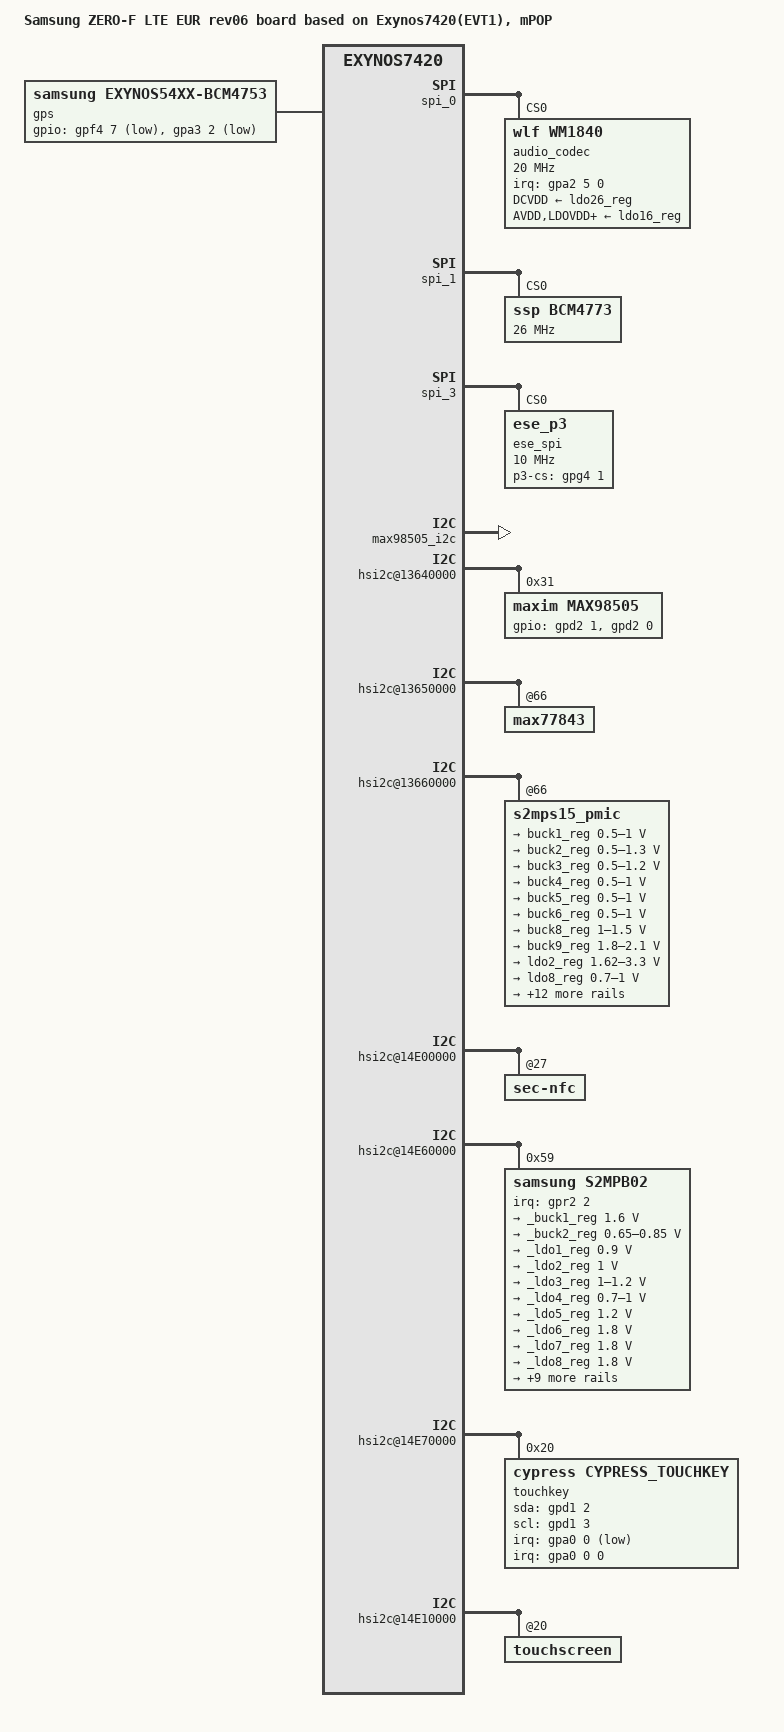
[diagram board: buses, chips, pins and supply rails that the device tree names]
/*
 * SAMSUNG UNIVERSAL7420 board device tree source
 *
 * Copyright (c) 2014 Samsung Electronics Co., Ltd.
 *		http://www.samsung.com
 *
 * This program is free software; you can redistribute it and/or modify
 * it under the terms of the GNU General Public License version 2 as
 * published by the Free Software Foundation.
*/

/dts-v1/;
#include "exynos7420-zero_common.dtsi"
#include "exynos7420-zeroflte_eur_battery_08.dtsi"
#include "exynos7420-zeroflte_gpio_06.dtsi"
#include "exynos7420-zerolte_modem-shannon_ds.dtsi"
#include "exynos7420-zerolte_fingerprint-sensor_00.dtsi"
#include "exynos7420-zeroflte_motor.dtsi"
#include "exynos7420-zeroflte_svcled.dtsi"
#include "exynos7420-zerolte_mst.dtsi"

/ {
	model = "Samsung ZERO-F LTE EUR rev06 board based on Exynos7420(EVT1), mPOP";
	model_info-chip = <7420>;
	model_info-platform = "android";
	model_info-subtype = "samsung";
	model_info-hw_rev = <10>;
	model_info-hw_rev_end = <10>;
	compatible = "samsung,ZERO-F LTE EUR EVT1 mPOP,r06", "samsung,exynos7420";

	spi_0: spi@14d20000 {
		/delete-property/ dma-mode;
		/delete-property/ dmas;
		/delete-property/ dma-names;

		num-cs = <1>;
		status = "okay";

		audio_codec: wm1840@0 {
			compatible = "wlf,wm1840";
			reg = <0x0>;
			spi-max-frequency = <20000000>;
			interrupts = <5 0 0>;
			interrupt-parent = <&gpa2>;

			gpio-controller;
			#gpio-cells = <2>;

			pinctrl-names ="default";
			pinctrl-0 = <&codec_reset &codec_irq>;

			wlf,reset = <&gpf4 0 0>;
			wlf,init-mic-delay = <30>;
			wlf,use-jd-gpio;
			wlf,micd-clamp-mode = <0x8>;
			wlf,micd-detect-debounce = <300>;
			wlf,micd-pol-gpio = <0>;
			wlf,micd-bias-start-time = <0x1>;
			wlf,micd-rate = <0x7>;
			wlf,micd-dbtime = <0x1>;
			wlf,micd-timeout = <1000>;
			wlf,micd-force-micbias;
			wlf,hpdet-moisture-imp = <2000>;
			wlf,hpdet-moisture-debounce = <40>;
			wlf,hpdet-channel = <1>;
			wlf,hpdet-ext-res = <33>;
			wlf,hpdet-short-circuit-imp = <3>;
			wlf,micd-ranges = <
				116 226
				173 582
				321 115
				752 114
				1257 217
			>;

			wlf,micd-configs = <
				0x0 2 0
			>;

			wlf,micbias1 = <1800 0 1 0 0>;
			wlf,micbias2 = <2800 0 1 0 0>;
			wlf,micbias3 = <1800 0 1 0 0>;
			wlf,micbias4 = <1800 0 1 0 0>;

			wlf,gpio-defaults = <
				0xffffffff 0xffffffff /* GPIO1 */
				0xffffffff 0xffffffff /* GPIO2 */
				0xffffffff 0xffffffff /* GPIO3 */
				0xffffffff 0xffffffff /* GPIO4 */
				0xffffffff 0xffffffff /* GPIO5 */
				0xffffffff 0xffffffff /* GPIO6 */
				0xffffffff 0xffffffff /* GPIO7 */
				0xffffffff 0xffffffff /* GPIO8 */
				0xffffffff 0xffffffff /* MIF1SCLK / GPIO9 */
				0xffffffff 0xffffffff /* MIF1SDA / GPIO10 */
				0xffffffff 0xffffffff /* MIF2SCLK / GPIO11 */
				0xffffffff 0xffffffff /* MIF2SDA / GPIO12 */
				0xffffffff 0xffffffff /* MIF3SCLK / GPIO13 */
				0xffffffff 0xffffffff /* MIF3SDA / GPIO14 */
				0x00002000 0x00006000 /* AIF1TXDAT / GPIO15 */
				0x00002000 0x00006000 /* AIF1BCLK / GPIO16 */
				0x00002000 0x00006000 /* AIF1RXDAT / GPIO17 */
				0x00002000 0x00006000 /* AIF1LRCLK / GPIO18 */
				0x00002000 0x00006000 /* AIF2TXDAT / GPIO19 */
				0x00002000 0x00006000 /* AIF2BCLK / GPIO20 */
				0x00002000 0x00006000 /* AIF2RXDAT / GPIO21 */
				0x00002000 0x00006000 /* AIF2LRCLK / GPIO22 */
				0x00002000 0x00006000 /* AIF3TXDAT / GPIO23 */
				0x00002000 0x00006000 /* AIF3BCLK / GPIO24 */
				0x00002000 0x00006000 /* AIF3RXDAT / GPIO25 */
				0x00002000 0x00006000 /* AIF3LRCLK / GPIO26 */
				0x00002000 0x00006000 /* AIF4TXDAT / GPIO27 */
				0x00002000 0x00006000 /* AIF4BCLK / GPIO28 */
				0x00002000 0x00006000 /* AIF4RXDAT / GPIO29 */
				0x00002000 0x00006000 /* AIF4LRCLK / GPIO30 */
				0x00002000 0x0000e000 /* DMICCLK4 / GPIO31 */
				0x00002000 0x0000e000 /* DMICDAT4 / GPIO32 */
				0xffffffff 0xffffffff /* DMICCLK5 / GPIO33 */
				0xffffffff 0xffffffff /* DMICDAT5 / GPIO34 */
				0xffffffff 0xffffffff /* DMICCLK6 / GPIO35 */
				0xffffffff 0xffffffff /* DMICDAT6 / GPIO36 */
				0xffffffff 0xffffffff /* SPKCLK1 / GPIO37 */
				0xffffffff 0xffffffff /* SPKCLK2 / GPIO38 */
				0xffffffff 0xffffffff /* SPKDAT1 / GPIO39 */
				0xffffffff 0xffffffff /* SPKDAT2 / GPIO40 */
			>;

			wlf,gpsw = <0x3>;
			wlf,micd-software-compare;
			wlf,micd-open-circuit-declare = <1>;
			wlf,jd-wake-time = <5000>;

			wlf,max-channels-clocked = <2 0 0 0>;
			/* 0:MICVDD 1:MICBIAS1 2:MICBIAS2 3:MICBIAS3 */
			wlf,dmic-ref = <1 2 1 0 0 0>;
			/* 1st cell:IN1L 2rd cell:IN1R 3nd cell:IN2L 4th cell:IN2R... 12th cell:IN6R */
			wlf,inmode = <2 2 0 0 2 2 2 2 0 0 0 0>;
			/* 1st cell:OUT1 2nd cell:OUT2 3rd cell:OUT3... 6th cell:OUT6 */
			wlf,out-mono = <0 1 1 0 0 0>;

			wlf,rev-specific-fw;

			DCVDD-supply = <&ldo26_reg>;
			AVDD-supply = <&ldo16_reg>;
			LDOVDD-supply = <&ldo16_reg>;
			DBVDD1-supply = <&ldo16_reg>;

			CPVDD-supply = <&ldo16_reg>;
			DBVDD2-supply = <&ldo16_reg>;
			DBVDD3-supply = <&ldo16_reg>;
			DBVDD4-supply = <&ldo16_reg>;
			SPKVDDL-supply = <&ldo16_reg>;
			SPKVDDR-supply = <&ldo16_reg>;

			adsps {
				#address-cells = <1>;
				#size-cells = <0>;

				adsp@0FFE00 {
					reg = <0x0FFE00>;
					firmware {
						TRACE {
							wlf,wmfw-file = "trace";
							wlf,bin-file = "None";
							wlf,compr-caps = <1 8 0x4 1 8000 16000 24000>;
						};
					};
				};
				adsp@17FE00 {
					reg = <0x17FE00>;
					firmware {
						TX_NB {
							wlf,wmfw-file = "tx-nb";
							wlf,bin-file = "None";
						};
						TX_WB {
							wlf,wmfw-file = "tx-wb";
							wlf,bin-file = "None";
						};
						TX_SWB_INTERVIEW {
							wlf,wmfw-file = "tx-swb";
							wlf,bin-file = "None";
						};
						TX_SWB_CONVERSATION {
							wlf,wmfw-file = "tx-swb";
							wlf,bin-file = "None";
						};
						TX_FB_MEETING {
							wlf,wmfw-file = "tx-fb-meeting";
							wlf,bin-file = "tx-fb-meeting";
						};
					};
				};
				adsp@1FFE00 {
					reg = <0x1FFE00>;
					firmware {
						TX_NB {
							wlf,wmfw-file = "tx-nb";
							wlf,bin-file = "tx-nb";
						};
						TX_WB {
							wlf,wmfw-file = "tx-wb";
							wlf,bin-file = "tx-wb";
						};
						TX_SWB_INTERVIEW {
							wlf,wmfw-file = "tx-swb";
							wlf,bin-file = "tx-swb-interview";
						};
						TX_SWB_CONVERSATION {
							wlf,wmfw-file = "tx-swb";
							wlf,bin-file = "tx-swb-conversation";
						};
						TX_WB_MEETING {
							wlf,wmfw-file = "tx-wb-meeting";
							wlf,bin-file = "tx-wb-meeting";
						};
					};
				};
				adsp@27FE00 {
					reg = <0x27FE00>;
					firmware {
						RX_NB {
							wlf,wmfw-file = "rx-anc-nb";
							wlf,bin-file = "rx-anc-nb";
						};
						RX_WB {
							wlf,wmfw-file = "rx-anc-wb";
							wlf,bin-file = "rx-anc-wb";
						};
					};
				};
				adsp@37FE00 {
					reg = <0x37FE00>;
					firmware {
						VOICECONTROL {
							wlf,wmfw-file = "ez2-control";
							wlf,bin-file = "ez2-control";
							wlf,compr-caps = <1 1 0x4 1 16000>;
						};
						LPSD {
							wlf,wmfw-file = "ez2-control";
							wlf,bin-file = "lpsd-control";
						};
					};
				};
				adsp@2FFE00 {
					reg = <0x2FFE00>;
					firmware {
						DSM {
							wlf,wmfw-file = "dsm";
							wlf,bin-file = "None";
						};
					};
				};
			};
			controller-data {
				cs-gpio = <&gpd8 1 0>;
				samsung,spi-feedback-delay = <0>;
			};
		};
	};

	spi_1: spi@14d30000 {
		#address-cells = <1>;
		#size-cells = <0>;

		pinctrl-names = "default";
		pinctrl-0 = <&spi1_mosi_sck_ssn &spi1_miso>;

		num-cs = <1>;
		status = "okay";

		BCM4773@0 {
			compatible = "ssp,BCM4773";
			reg = <0>;
			spi-max-frequency = <26000000>;
			spi-cpol;
			spi-cpha;
			pinctrl-names = "default";
			pinctrl-0 = <&ssp_host_req &ssp_mcu_req &ssp_mcu_resp>;

			gpio-controller;
			#gpio-cells = <2>;
			ssp-host-req = <&gpa3 6 0x01>;
			ssp-mcu-req = <&gpf4 5 0x01>;
			ssp-mcu-resp = <&gpf4 4 0x00>;
			ssp-acc-position = <0>;
			ssp-mag-position = <0>;
			ssp-sns-combination = <0>;
			ssp,prox-hi_thresh = <2000>;
			ssp,prox-low_thresh = <1400>;
			ssp-ap-rev = <1>;
			ssp-mag-array = <10213 (-360) 154 (-206) 8673 (-59) (-66) (-59) 10479>; /* Only for YAS532 */
			ssp-hw-rev = <3>;
			ssp-glass-type = <0>;

			controller-data {
				cs-gpio = <&gpd6 3 0>;
				samsung,spi-feedback-delay = <0>;
				};
			};
	};

	gps {
		compatible = "samsung,exynos54xx-bcm4753";

		pinctrl-names = "default";
		pinctrl-0 = <&ssp_gps_pwr_en &ssp_host_wake>;

		gpios = <&gpf4 7 0x1
			      &gpa3 2 0xf
				>;
		status = "okay";
	};

	spi_3: spi@14d50000 {
		spiclk-pindev-name = "14c90000.pinctrl";
		spiclk-pin-name = "gpg4-0";
		status = "okay";
		#address-cells = <1>;
		#size-cells = <0>;
		pinctrl-names = "default","ese-pwoff","clk-fix","clk-recover","ese-disable";
		pinctrl-0 = <&spi3_bus>;
		pinctrl-1 = <&spi3_ese_pwoff>;
		pinctrl-2 = <&spi3_clk_fix>;
		pinctrl-3 = <&spi3_clk_recover>;
		pinctrl-4 = <&spi3_ese_disable>;
		samsung,ese-oberthur;

		ese_spi@0 {
			compatible = "ese_p3";
			reg = <0>;
			spi-max-frequency = <10000000>;

			gpio-controller;
			#gpio-cells = <2>;

			p3-mosipin = <21>;
			p3-misopin = <22>;
			p3-cspin = <23>;
			p3-clkpin = <24>;
			p3-cs-gpio = <&gpg4 1 0>;
			p3-vdd-1p8= "VDD_1.8V_ESE";

			controller-data {
				samsung,spi-chip-select-mode = <1>;
			};
		};
	};

	audio_pdata {
		compatible = "samsung,audio-pdata";

		seamless_voicewakeup;
		status = "okay";
	};

	antenna_switch {
		status = "okay";
		compatible = "antenna_switch";
		pinctrl-names = "default";
		pinctrl-0 = <&antenna_switch_en>;
		antenna_switch,gpio_antenna_switch = <&gpr3 6 0>;
	};

	pinctrl@10580000 {
		codec_irq: codec-irq {
			samsung,pins = "gpa2-5";
			samsung,pin-function = <0xf>;
			samsung,pin-pud = <0>;
		};
		max98505_ctrl: max98505-ctl {
			samsung,pins ="gpa2-0";
			samsung,pin-function = <0>;
			samsung,pin-pud = <0>;
			samsung,pin-con-pdn =<2>;
			samsung,pin-pud-pdn = <0>;
		};
	};

	pinctrl@13470000 {
		max98505_i2c: max98505-i2c {
			samsung,pins = "gpd2-0", "gpd2-1";
			samsung,pin-pud = <0>;
			status = "okay";
		};
	};

	pinctrl@14870000 {
		codec_reset: codec-reset {
			samsung,pins ="gpf4-0";
			samsung,pin-function = <1>;
			samsung,pin-pud = <1>;
			samsung,pin-con-pdn =<3>;
			samsung,pin-pud-pdn = <1>;
			samsung,pin-val = <0>;
		};
	};

	pinctrl@15690000 {
		sub_pmic_irq: sub-pmic-irq {
			samsung,pins ="gpr2-2";
			samsung,pin-function = <0>;
			samsung,pin-pud = <0>;
			samsung,pin-drv = <0>;
		};		
		antenna_switch_en: antenna-switch-en {
                        samsung,pins = "gpr3-6";
                        samsung,pin-function = <1>;
                        samsung,pin-pud = <0>;
                        samsung,pin-val = <0>;
                };		
	};

	hsi2c@13640000 {
		status = "okay";
		max98505@31 {
			compatible = "maxim,max98505";
			reg = <0x31>;
			pinctrl-names = "default";
			pinctrl-0 = <&max98505_i2c &max98505_ctrl>;
			gpios = <&gpd2 1 0
				&gpd2 0 0
				>;
			i2c-gpio,delay-us = <2>;
			maxim,platform_type = <0>;
			maxim,spk_vol = <0x14>;
			maxim,sysclk = <12288000>;
		};
	};

	hsi2c@13650000{
		max77843@66 {
			status = "okay";
		};
	};

	hsi2c@13660000 {
		s2mps15_pmic@66 {
			regulators {
				buck1_reg: BUCK1 {
					regulator-name = "vdd_mif";
					regulator-min-microvolt = <500000>;
					regulator-max-microvolt = <1000000>;
					regulator-always-on;
					regulator-boot-on;
					regulator-ramp-delay = <12000>;
					regulator-initial-mode = <1>;
				};

				buck2_reg: BUCK2 {
					regulator-name = "vdd_atlas";
					regulator-min-microvolt = <500000>;
					regulator-max-microvolt = <1300000>;
					regulator-always-on;
					regulator-boot-on;
					regulator-ramp-delay = <12000>;
					regulator-initial-mode = <1>;
				};

				buck3_reg: BUCK3 {
					regulator-name = "vdd_apollo";
					regulator-min-microvolt = <500000>;
					regulator-max-microvolt = <1200000>;
					regulator-always-on;
					regulator-boot-on;
					regulator-ramp-delay = <12000>;
					regulator-initial-mode = <1>;
				};

				buck4_reg: BUCK4 {
					regulator-name = "vdd_int";
					regulator-min-microvolt = <500000>;
					regulator-max-microvolt = <1000000>;
					regulator-always-on;
					regulator-boot-on;
					regulator-ramp-delay = <12000>;
					regulator-initial-mode = <1>;
				};

				buck5_reg: BUCK5 {
					regulator-name = "vdd_disp_cam0";
					regulator-min-microvolt = <500000>;
					regulator-max-microvolt = <1000000>;
					regulator-always-on;
					regulator-boot-on;
					regulator-ramp-delay = <12000>;
					regulator-initial-mode = <1>;
				};

				buck6_reg: BUCK6 {
					regulator-name = "vdd_g3d";
					regulator-min-microvolt = <500000>;
					regulator-max-microvolt = <1000000>;
					regulator-always-on;
					regulator-boot-on;
					regulator-ramp-delay = <12000>;
					regulator-initial-mode = <1>;
				};

				buck8_reg: BUCK8 {
					regulator-name = "vdd_lldo";
					regulator-min-microvolt = <1000000>;
					regulator-max-microvolt = <1500000>;
					regulator-always-on;
					regulator-ramp-delay = <12000>;
					regulator-initial-mode = <3>;
				};

				buck9_reg: BUCK9 {
					regulator-name = "vdd_mldo";
					regulator-min-microvolt = <1800000>;
					regulator-max-microvolt = <2100000>;
					regulator-always-on;
					regulator-ramp-delay = <12000>;
					regulator-initial-mode = <3>;
				};

				ldo2_reg: LDO2 {
					regulator-name = "vqmmc";
					regulator-min-microvolt = <1620000>;
					regulator-max-microvolt = <3300000>;
					regulator-ramp-delay = <12000>;
					regulator-initial-mode = <1>;
					regulator-boot-on;
				};

				ldo8_reg: LDO8 {
					regulator-name = "vdd_ldo8";
					regulator-min-microvolt = <700000>;
					regulator-max-microvolt = <1000000>;
					regulator-always-on;
					regulator-initial-mode = <1>;
				};

				ldo15_reg: LDO15 {
					regulator-name = "tsp_io";
					regulator-min-microvolt = <1850000>;
					regulator-max-microvolt = <1850000>;
				};

				ldo16_reg: LDO16 {
					regulator-name = "VCC_1.8V_CODEC_PMIC";
					regulator-min-microvolt = <1800000>;
					regulator-max-microvolt = <1800000>;
				};

				ldo17_reg: LDO17 {
					regulator-name = "VCC_MOTOR_3.0";
					regulator-min-microvolt = <3000000>;
					regulator-max-microvolt = <3000000>;
				};

				ldo18_reg: LDO18 {
					regulator-name = "HRM_VDD_1.8V";
					regulator-min-microvolt = <1800000>;
					regulator-max-microvolt = <1850000>;
				};

				ldo19_reg: LDO19 {
					regulator-name = "MST_LEVEL_3.0V";
					regulator-min-microvolt = <3000000>;
					regulator-max-microvolt = <3000000>;
				};

				ldo20_reg: LDO20 {
					regulator-name = "VDD20_1P8_AP";
					regulator-min-microvolt = <1800000>;
					regulator-max-microvolt = <1800000>;
				};

				ldo21_reg: LDO21 {
					regulator-name = "vtouch_3.3v";
					regulator-min-microvolt = <3300000>;
					regulator-max-microvolt = <3300000>;
					regulator-boot-on;
				};

				ldo22_reg: LDO22 {
					regulator-name = "VDD22_1P2_AP";
					regulator-min-microvolt = <1200000>;
					regulator-max-microvolt = <1200000>;
				};

				ldo23_reg: LDO23 {
					regulator-name = "VDD_1.8V_ESE";
					regulator-min-microvolt = <1800000>;
					regulator-max-microvolt = <1800000>;
				};

				ldo24_reg: LDO24 {
					regulator-name = "V_HRM_3.3V";
					regulator-min-microvolt = <3300000>;
					regulator-max-microvolt = <3350000>;
				};

				ldo25_reg: LDO25 {
					regulator-name = "PROX_LED_3.3V";
					regulator-min-microvolt = <3300000>;
					regulator-max-microvolt = <3300000>;
				};

				ldo26_reg: LDO26 {
					regulator-name = "VDD_1.2V_CODEC";
					regulator-min-microvolt = <1200000>;
					regulator-max-microvolt = <1200000>;
				};
			};
		};
	};

	hsi2c@13670000 {
		max77838@60 {
			status = "disabled";
		};
	};

	hsi2c@14E00000 {
		sec-nfc@27 {
			sec-nfc,i2c_1p8 = "VDD20_1P8_AP";
		};
	};

	hsi2c@14E60000 {
		status = "okay";
		/delete-node/	s2mpb01_pmic@59;

		s2mpb02@59 {
			compatible = "samsung,s2mpb02";
			reg = <0x59>;

			s2mpb02,irq-gpio = <&gpr2 2 0>;
			pinctrl-names = "default";
			pinctrl-0 = <&sub_pmic_irq>;

			regulators {
				_buck1_reg: s2mpb02-buck1 {
					regulator-name = "VDD_1P6_DDR";
					regulator-min-microvolt = <1600000>;
					regulator-max-microvolt = <1600000>;
				};

				_buck2_reg: s2mpb02-buck2 {
					regulator-name = "VDDD_CORE_0.8V_COMP";
					regulator-min-microvolt = <650000>;
					regulator-max-microvolt = <850000>;
				};

				_ldo1_reg: s2mpb02-ldo1 {
					regulator-name = "VDDD_NORET_0.9V_COMP";
					regulator-min-microvolt = <900000>;
					regulator-max-microvolt = <900000>;
				};

				_ldo2_reg: s2mpb02-ldo2 {
					regulator-name = "VDDD_CORE_1.0V_COMP";
					regulator-min-microvolt = <1000000>;
					regulator-max-microvolt = <1000000>;
				};

				_ldo3_reg: s2mpb02-ldo3 {
					regulator-name = "VDDD_1.2V_CAM";
					regulator-min-microvolt = <1000000>;
					regulator-max-microvolt = <1200000>;
				};

				_ldo4_reg: s2mpb02-ldo4 {
					regulator-name = "VDDD_RET_1.0V_COMP";
					regulator-min-microvolt = <700000>;
					regulator-max-microvolt = <1000000>;
				};

				_ldo5_reg: s2mpb02-ldo5 {
					regulator-name = "VDDD_1.2V_VT";
					regulator-min-microvolt = <1200000>;
					regulator-max-microvolt = <1200000>;
				};

				_ldo6_reg: s2mpb02-ldo6 {
					regulator-name = "VDDIO_1.8V_VT";
					regulator-min-microvolt = <1800000>;
					regulator-max-microvolt = <1800000>;
				};

				_ldo7_reg: s2mpb02-ldo7 {
					regulator-name = "VDDIO_1.8V_CAM";
					regulator-min-microvolt = <1800000>;
					regulator-max-microvolt = <1800000>;
				};

				_ldo8_reg: s2mpb02-ldo8 {
					regulator-name = "VDDIO_1.8V_COMP";
					regulator-min-microvolt = <1800000>;
					regulator-max-microvolt = <1800000>;
				};

				_ldo9_reg: s2mpb02-ldo9 {
					regulator-name = "VDDA_1.8V_COMP";
					regulator-min-microvolt = <1800000>;
					regulator-max-microvolt = <1800000>;
				};

				_ldo10_reg: s2mpb02-ldo10 {
					regulator-name = "VCC_DISPLAY_1.8V";
					regulator-min-microvolt = <1800000>;
					regulator-max-microvolt = <1800000>;
				};

				_ldo11_reg: s2mpb02-ldo11 {
					regulator-name = "VDDA_2.9V_CAM";
					regulator-min-microvolt = <2800000>;
					regulator-max-microvolt = <2950000>;
				};

				_ldo12_reg: s2mpb02-ldo12 {
					regulator-name = "VDDAF_2.8V_CAM";
					regulator-min-microvolt = <2800000>;
					regulator-max-microvolt = <2800000>;
				};

				_ldo13_reg: s2mpb02-ldo13 {
					regulator-name = "VDDA_2.9V_VT";
					regulator-min-microvolt = <2900000>;
					regulator-max-microvolt = <2900000>;
				};

				_ldo14_reg: s2mpb02-ldo14 {
					regulator-name = "OIS_VM_2.8V";
					regulator-min-microvolt = <2800000>;
					regulator-max-microvolt = <2800000>;
				};

				_ldo15_reg: s2mpb02-ldo15 {
					regulator-name = "OIS_VDD_2.8V";
					regulator-min-microvolt = <2800000>;
					regulator-max-microvolt = <2800000>;
				};

				_ldo16_reg: s2mpb02-ldo16 {
					regulator-name = "VCC_3.0V_LCD";
					regulator-min-microvolt = <3000000>;
					regulator-max-microvolt = <3000000>;
				};

				_ldo17_reg: s2mpb02-ldo17 {
					regulator-name = "tsp_avdd";
					regulator-min-microvolt = <3300000>;
					regulator-max-microvolt = <3300000>;
				};

			};

			torch {
				status = "okay";
				leds1 {
					ledname = "leds-sec1";
					/* S2MPB02_FLASH_LED_1 */
					id = <0>;
					/* S2MPB02_FLASH_CURRENT */
					brightness = <0xF>;
					/* S2MPB02_FLASH_TIMEOUT */
					timeout = <0x3>;
				};

				leds2 {
					ledname = "torch-sec1";
					/* S2MPB02_TORCH_LED_1 */
					id = <1>;
					/* S2MPB02_TORCH_CURRENT */
					brightness = <0x9>;
					/* S2MPB02_TORCH_TIMEOUT */
					timeout = <0xF>;
				};
			};
		};
	};

	pinctrl@13470000 {
		/* touchkey i2c*/
		cfg_i2c: cfg-i2c {
			samsung,pins = "gpd1-3", "gpd1-2";
			samsung,pin-function = <3>;
			samsung,pin-pud = <0>;
			samsung,pin-drv = <0>;
		};
		cfg_gpio: cfg_gpio {
			samsung,pins = "gpd1-3", "gpd1-2";
			samsung,pin-function = <0>;
			samsung,pin-pud = <0>;
			samsung,pin-drv = <0>;
		};
	};

	pinctrl@10580000 {
		/* touchkey interrupt*/
		cfg_irq: cfg-irq {
			samsung,pins = "gpa0-0";
			samsung,pin-function = <0xf>;
			samsung,pin-pud = <3>;
			samsung,pin-drv = <0>;
		};
		cfg_input: cfg-input {
			samsung,pins = "gpa0-0";
			samsung,pin-function = <0>;
			samsung,pin-pud = <1>;
			samsung,pin-drv = <0>;
		};
		sub_det: sub-det {
			samsung,pins = "gpa3-0";
			samsung,pin-function = <0>;
			samsung,pin-pud = <0>;
			samsung,pin-drv = <0>;
		};
	};

	hsi2c@14E70000 {
		status = "okay";
		pinctrl-names = "default","on_i2c","off_i2c";
		pinctrl-0 = <&hs_i2c3_bus>;
		pinctrl-1 = <&cfg_i2c>;
		pinctrl-2 = <&cfg_gpio>;
		touchkey@20 {
			pinctrl-names = "on_irq","off_irq","sub_det";
			pinctrl-0 = <&cfg_irq>;
			pinctrl-1 = <&cfg_input>;
			pinctrl-2 = <&sub_det>;
			compatible = "cypress,cypress_touchkey";
			reg = <0x20>;
			interrupts = <0 0 0>;
			interrupt-parent = <&gpa0>;
			cypress,sda-gpio = <&gpd1 2 0>;
			cypress,scl-gpio = <&gpd1 3 0>;
			cypress,irq-gpio = <&gpa0 0 1>;
			cypress,sub-det = <&gpa3 0 0>;
			cypress,ap-io-power = "true";
			cypress,ic-stabilizing-time = <150>;
			cypress,boot-on-ldo = "true";
			cypress,fw_path = "cypress/cypress_zerof.fw";
		};
	};

	hsi2c@14E10000 {
		touchscreen@20 {
			stm,firmware_name = "tsp_stm/stm_z1.fw";
			stm,project_name = "ZEROF", "G920";
		};
	};

	dwmmc0@15740000 {
		status = "disabled";
	};

	dwmmc2@15560000 {
		vdd_vmmc-supply = <&ldo25_reg>;
		vqmmc-supply = <&ldo2_reg>;
	};

	decon_0: decon_fb {
		gpio_pcd = <&gpa1 2 0>;
	};

	dsim_0: dsim@0x13900000 {
		gpios = <&gpr3 0 0x1>;
		regulator_30V = "VCC_3.0V_LCD";
		regulator_18V = "VCC_DISPLAY_1.8V";
		regulator_16V = "VDD_1P6_DDR";
		lcd_info = <&s6e3ha2_wqhd>;
	};

	s6e3ha2_wqhd: s6e3ha2_wqhd_panel {
		mode = <2>;
		resolution = <1440 2560>;
		size = <63 112>;
		timing,refresh = <60>;
		timing,h-porch = <1 1 1>;
		timing,v-porch = <15 1 1>;
		timing,dsi-hs-clk = <1026>;
		timing,dsi-escape-clk = <16>;
		mic = <1>;
		mic_ver = <2>;
		type_of_ddi = <0>;
	};

	simslot_count {
		status = "okay";
	};
};
